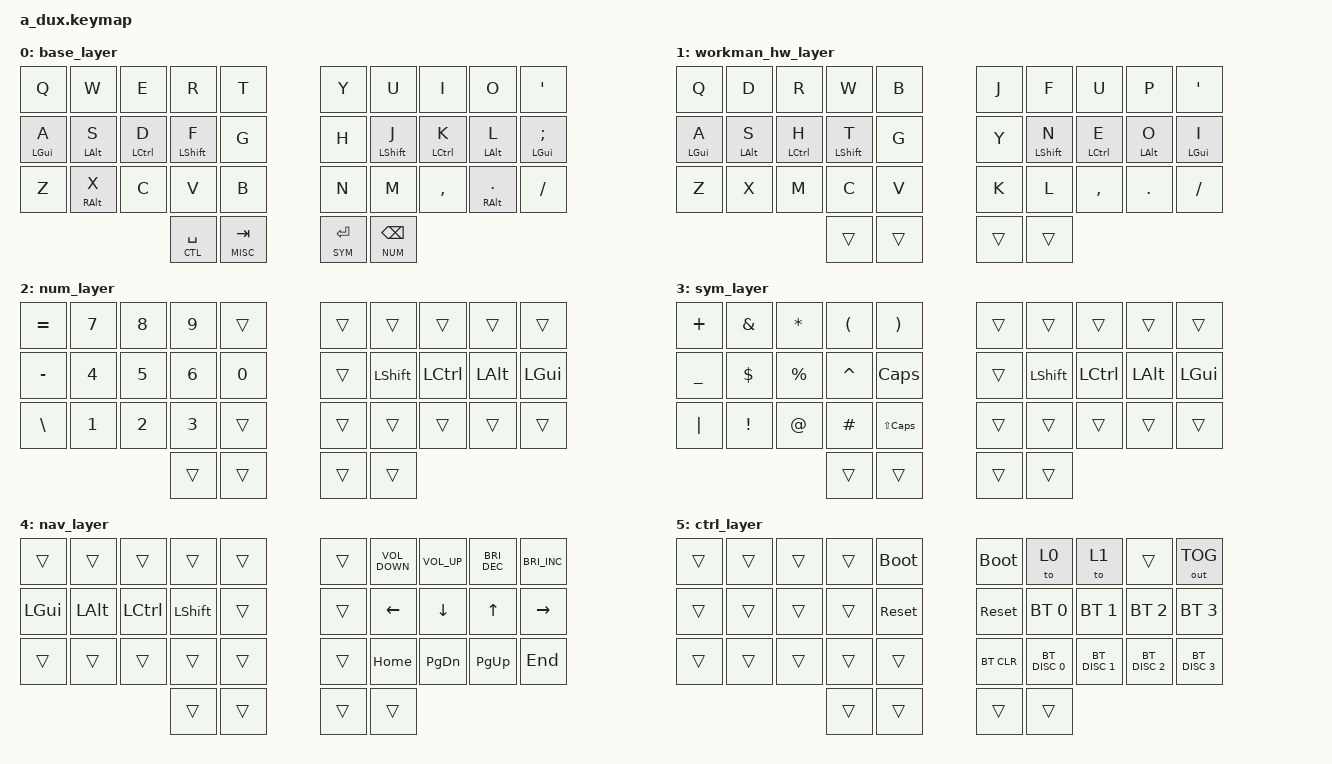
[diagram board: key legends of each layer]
/*
 * Copyright (c) 2021 The ZMK Contributors
 *
 * SPDX-License-Identifier: MIT
 */
/* |  0 |  1 |  2 |  3 |  4 |    |   |    |  5 |  6 |  7 |  8 |  9 |
   | 10 | 11 | 12 | 13 | 14 |    |   |    | 15 | 16 | 17 | 18 | 19 |
   | 20 | 21 | 22 | 23 | 24 |    |   |    | 25 | 26 | 27 | 28 | 29 |
   |    |    |    |    | 30 | 31 |   | 32 | 33 |    |    |    |    | */

#include <behaviors.dtsi>
#include <dt-bindings/zmk/bt.h>
#include <dt-bindings/zmk/keys.h>
#include <dt-bindings/zmk/outputs.h>

#define DEFAULT  0
#define WORKMAN  1
#define NUM      2
#define SYM      3
#define MISC     4
#define CTL      5

&caps_word { continue-list = <UNDERSCORE MINUS DEL BSPC>; };

&lt {
    quick-tap-ms = <175>;
    flavor = "balanced";
};

/ {
    combos {
        compatible = "zmk,combos";

        combo_lbkt {
            timeout-ms = <50>;
            key-positions = <5 15>;
            bindings = <&kp LBKT>;
            layers = <0 1>;
        };

        combo_rbkt {
            timeout-ms = <50>;
            key-positions = <4 14>;
            bindings = <&kp RBKT>;
            layers = <0 1>;
        };

        combo_semi {
            timeout-ms = <50>;
            key-positions = <15 25>;
            bindings = <&kp P>;
            layers = <0 1>;
        };

        combo_grave {
            timeout-ms = <50>;
            key-positions = <14 24>;
            bindings = <&kp GRAVE>;
            layers = <0 1>;
        };

        combo_esc {
            timeout-ms = <50>;
            key-positions = <30 31>;
            bindings = <&kp ESC>;
            layers = <0 1>;
        };

        combo_del {
            timeout-ms = <50>;
            key-positions = <32 33>;
            bindings = <&kp DEL>;
            layers = <0 1>;
        };

        combo_caps_word {
            timeout-ms = <50>;
            key-positions = <13 16>;
            bindings = <&caps_word>;
            layers = <0 1>;
        };
    };

    behaviors {
        rhm: rhm {
            compatible = "zmk,behavior-hold-tap";
            label = "RHM";
            bindings = <&kp>, <&kp>;

            #binding-cells = <2>;
            flavor = "balanced";
            tapping-term-ms = <210>;
            quick-tap-ms = <175>;
            require-prior-idle-ms = <150>;
            hold-trigger-on-release;
            hold-trigger-key-positions = <0 10 11 13 14 20 21 22 23 24 30 31 4 3 2 12 1>;
        };

        lhm: lhm {
            compatible = "zmk,behavior-hold-tap";
            label = "LHM";
            bindings = <&kp>, <&kp>;

            #binding-cells = <2>;
            tapping-term-ms = <210>;
            quick-tap-ms = <175>;
            require-prior-idle-ms = <150>;
            hold-trigger-key-positions = <5 6 7 8 9 15 16 17 18 19 25 26 27 28 29 32 33>;
            hold-trigger-on-release;
            flavor = "balanced";
        };
    };

    keymap {
        compatible = "zmk,keymap";

        base_layer {
            bindings = <
&kp Q        &kp W        &kp E         &kp R          &kp T                                       &kp Y         &kp U          &kp I         &kp O          &kp SQT
&lhm LGUI A  &lhm LALT S  &lhm LCTRL D  &lhm LSHIFT F  &kp G                                       &kp H         &rhm LSHIFT J  &rhm LCTRL K  &rhm LALT L    &rhm LGUI SEMI
&kp Z        &lhm RALT X  &kp C         &kp V          &kp B                                       &kp N         &kp M          &kp COMMA     &rhm RALT DOT  &kp SLASH
                                                       &lt CTL SPC  &lt MISC TAB    &lt SYM ENTER  &lt NUM BSPC
            >;
        };

        workman_hw_layer {
            bindings = <
&kp Q        &kp D        &kp R         &kp W         &kp B                     &kp J   &kp F         &kp U         &kp P        &kp SQT
&lhm LGUI A  &lhm LALT S  &lhm LCTRL H  &lhm LSHFT T  &kp G                     &kp Y   &rhm LSHFT N  &rhm LCTRL E  &rhm LALT O  &rhm LGUI I
&kp Z        &kp X        &kp M         &kp C         &kp V                     &kp K   &kp L         &kp COMMA     &kp DOT      &kp SLASH
                                                      &trans  &trans    &trans  &trans
            >;
        };

        num_layer {
            bindings = <
&kp EQUAL  &kp N7  &kp N8  &kp N9  &trans                    &trans  &trans     &trans     &trans    &trans
&kp MINUS  &kp N4  &kp N5  &kp N6  &kp N0                    &trans  &kp LSHFT  &kp LCTRL  &kp LALT  &kp LGUI
&kp BSLH   &kp N1  &kp N2  &kp N3  &trans                    &trans  &trans     &trans     &trans    &trans
                                   &trans  &trans    &trans  &trans
            >;
        };

        sym_layer {
            bindings = <
&kp PLUS   &kp AMPS  &kp ASTRK  &kp LPAR   &kp RPAR                        &trans  &trans     &trans     &trans    &trans
&kp UNDER  &kp DLLR  &kp PRCNT  &kp CARET  &kp CAPS                        &trans  &kp LSHFT  &kp LCTRL  &kp LALT  &kp LGUI
&kp PIPE   &kp EXCL  &kp AT     &kp HASH   &kp LS(CAPS)                    &trans  &trans     &trans     &trans    &trans
                                           &trans        &trans    &trans  &trans
            >;
        };

        nav_layer {
            bindings = <
&trans    &trans    &trans     &trans     &trans                    &trans  &kp C_VOLUME_DOWN  &kp C_VOLUME_UP  &kp C_BRIGHTNESS_DEC  &kp C_BRIGHTNESS_INC
&kp LGUI  &kp LALT  &kp LCTRL  &kp LSHFT  &trans                    &trans  &kp LEFT           &kp DOWN         &kp UP                &kp RIGHT
&trans    &trans    &trans     &trans     &trans                    &trans  &kp HOME           &kp PAGE_DOWN    &kp PAGE_UP           &kp END
                                          &trans  &trans    &trans  &trans
            >;
        };

        ctrl_layer {
            bindings = <
&trans  &trans  &trans  &trans  &bootloader                    &bootloader  &to 0          &to 1          &trans         &out OUT_TOG
&trans  &trans  &trans  &trans  &sys_reset                     &sys_reset   &bt BT_SEL 0   &bt BT_SEL 1   &bt BT_SEL 2   &bt BT_SEL 3
&trans  &trans  &trans  &trans  &trans                         &bt BT_CLR   &bt BT_DISC 0  &bt BT_DISC 1  &bt BT_DISC 2  &bt BT_DISC 3
                                &trans       &trans    &trans  &trans
            >;
        };
    };
};

/* Local Variables: */
/* mode: c */
/* End: */
